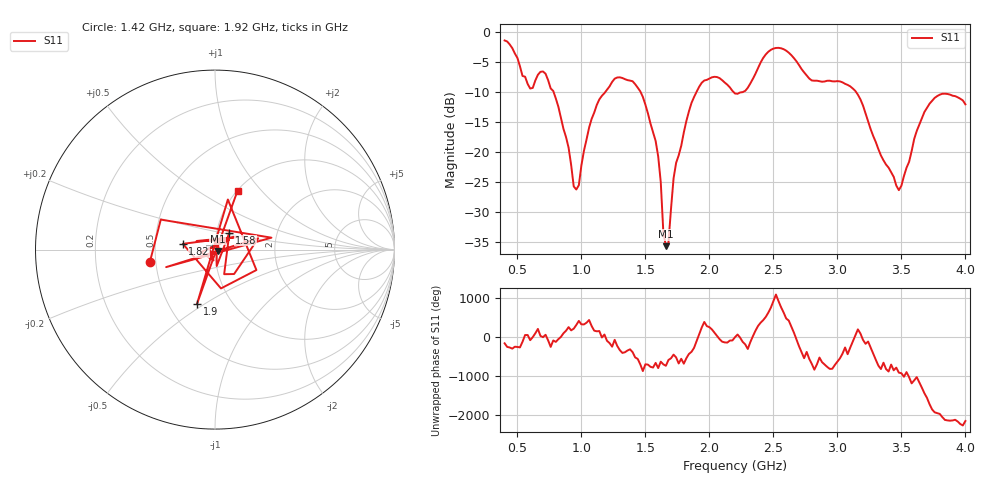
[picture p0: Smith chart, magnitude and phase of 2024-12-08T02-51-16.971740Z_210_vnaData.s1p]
!Created with skrf (http://scikit-rf.org).
# Hz S RI R 50.0
!freq ReS11 ImS11
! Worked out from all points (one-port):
!   181 points, 400 MHz to 4 GHz, reference 50 ohm
!   lowest |S11| = -35.7 dB at 1.66 GHz (marker M1), VSWR 1.03, Z = 51.5 - j0.712 ohm
!   |S11| at or under -10 dB: 783.3 MHz to 1.185 GHz (402 MHz wide, 40.8 % of centre); 1.463 GHz to 1.898 GHz (435.2 MHz wide, 25.9 % of centre); 3.147 GHz to end of sweep (the widest 3 of 4)
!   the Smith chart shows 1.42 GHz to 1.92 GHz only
!   S11 on the Smith chart (normalised r, x): 1.42 GHz: 0.46, -0.07; 1.58 GHz: 1.15, +0.22; 1.82 GHz: 0.70, +0.05; 1.9 GHz: 0.69, -0.46; 1.92 GHz: 1.01, +0.75
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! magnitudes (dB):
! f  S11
! 400 MHz  -1.4
! 600 MHz  -9.4
! 720 MHz  -6.9
! 860 MHz  -16.1
! 960 MHz  -26.2
! 1.12 GHz  -12.1
! 1.3 GHz  -7.5
! 1.42 GHz  -8.7
! 1.58 GHz  -18.1
! 1.62 GHz  -25.0
! 1.64 GHz  -33.3
! 1.66 GHz  -35.7
! 1.68 GHz  -35.1
! 1.72 GHz  -24.4
! 1.76 GHz  -20.5
! 1.82 GHz  -14.8
! 1.9 GHz  -9.9
! 1.92 GHz  -9.1
! 2.06 GHz  -7.5
! 2.2 GHz  -10.2
! 2.48 GHz  -2.9
! 2.66 GHz  -4.3
! 2.8 GHz  -8.0
! 3.1 GHz  -9.0
! 3.48 GHz  -26.3
! 3.56 GHz  -21.6
! 3.76 GHz  -10.9
! 4 GHz  -12.0
